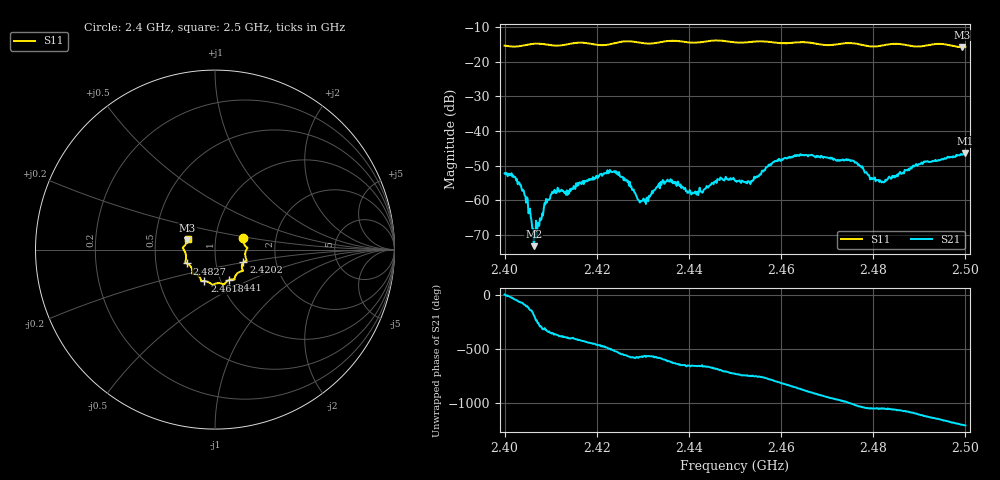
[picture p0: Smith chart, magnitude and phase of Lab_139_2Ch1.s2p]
# Hz S RI R
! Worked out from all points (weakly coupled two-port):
!   601 points, 2.4 GHz to 2.5 GHz, reference 50 ohm
!   highest |S21| = -46.42 dB at 2.5 GHz (marker M1); lowest = -73.2 dB at 2.4063 GHz (marker M2)
!   lowest |S11| = -15.8 dB at 2.4993 GHz (marker M3), VSWR 1.39, Z = 36.5 + j3.85 ohm
!   |S11| at or under -10 dB: start of sweep to end of sweep
!   S12 and S22 are empty: the file has one direction only
!   S11 on the Smith chart (normalised r, x): 2.4 GHz: 1.36, +0.18; 2.4202 GHz: 1.36, -0.20; 2.441 GHz: 1.10, -0.39; 2.4618 GHz: 0.84, -0.30; 2.4827 GHz: 0.72, -0.12; 2.5 GHz: 0.73, +0.09
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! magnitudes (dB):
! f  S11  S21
! 2.4 GHz  -15.4  -52.2
! 2.4037 GHz  -15.5  -56.4
! 2.4063 GHz  -14.9  -73.2
! 2.4105 GHz  -15.3  -57.7
! 2.4167 GHz  -14.6  -55.3
! 2.4202 GHz  -15.2  -53.6
! 2.4243 GHz  -14.5  -52.3
! 2.4295 GHz  -14.6  -60.1
! 2.4333 GHz  -14.5  -55.6
! 2.4358 GHz  -14.0  -54.5
! 2.441 GHz  -14.6  -57.9
! 2.4467 GHz  -13.9  -54.1
! 2.45 GHz  -14.5  -54.3
! 2.4535 GHz  -14.3  -54.4
! 2.4618 GHz  -14.6  -47.4
! 2.4667 GHz  -14.6  -46.8
! 2.4753 GHz  -14.7  -48.5
! 2.4797 GHz  -15.6  -53.8
! 2.4827 GHz  -15.2  -54.0
! 2.4833 GHz  -15.0  -53.3
! 2.4993 GHz  -15.8  -46.7
! 2.5 GHz  -15.7  -46.4
